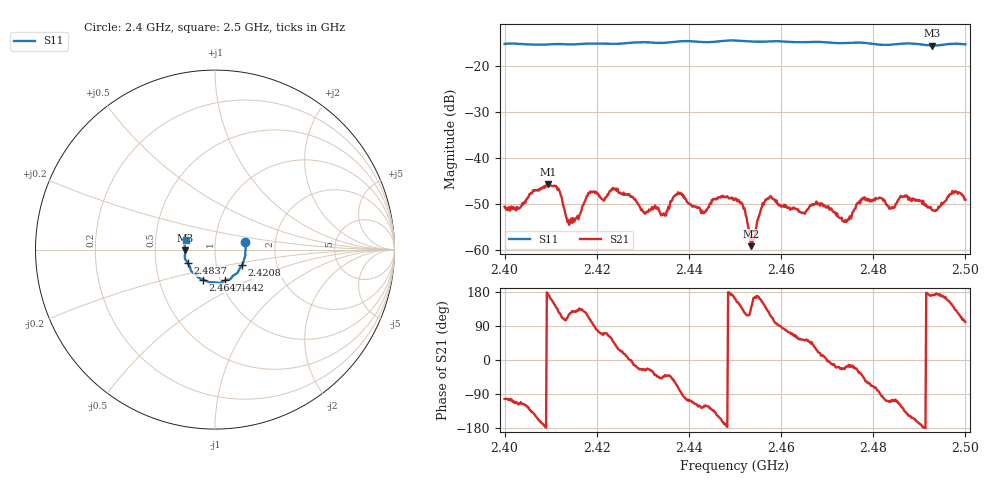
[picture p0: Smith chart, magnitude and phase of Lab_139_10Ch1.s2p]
# Hz S RI R 50
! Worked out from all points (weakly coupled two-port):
!   601 points, 2.4 GHz to 2.5 GHz, reference 50 ohm
!   highest |S21| = -45.78 dB at 2.4095 GHz (marker M1); lowest = -59.2 dB at 2.4535 GHz (marker M2)
!   lowest |S11| = -15.6 dB at 2.4928 GHz (marker M3), VSWR 1.40, Z = 35.8 - j0.367 ohm
!   |S11| at or under -10 dB: start of sweep to end of sweep
!   S12 and S22 are empty: the file has one direction only
!   S11 on the Smith chart (normalised r, x): 2.4 GHz: 1.40, +0.12; 2.4208 GHz: 1.33, -0.24; 2.4442 GHz: 1.05, -0.37; 2.4647 GHz: 0.83, -0.29; 2.4837 GHz: 0.73, -0.11; 2.5 GHz: 0.72, +0.08
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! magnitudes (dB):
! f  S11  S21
! 2.4 GHz  -15.2  -50.7
! 2.4095 GHz  -15.4  -45.8
! 2.4117 GHz  -15.3  -46.7
! 2.4138 GHz  -15.4  -53.5
! 2.4167 GHz  -15.3  -51.5
! 2.4208 GHz  -15.2  -48.7
! 2.4333 GHz  -15.1  -50.8
! 2.4378 GHz  -14.7  -47.8
! 2.4442 GHz  -14.9  -50.8
! 2.45 GHz  -14.5  -49.0
! 2.4518 GHz  -14.6  -51.0
! 2.4535 GHz  -14.7  -59.2
! 2.4573 GHz  -14.7  -48.8
! 2.4647 GHz  -14.9  -51.9
! 2.4667 GHz  -14.8  -50.2
! 2.4738 GHz  -15.1  -53.9
! 2.4778 GHz  -15.0  -48.7
! 2.4833 GHz  -15.5  -50.6
! 2.4837 GHz  -15.4  -50.8
! 2.487 GHz  -15.2  -48.2
! 2.4928 GHz  -15.6  -51.4
! 2.5 GHz  -15.3  -49.1
